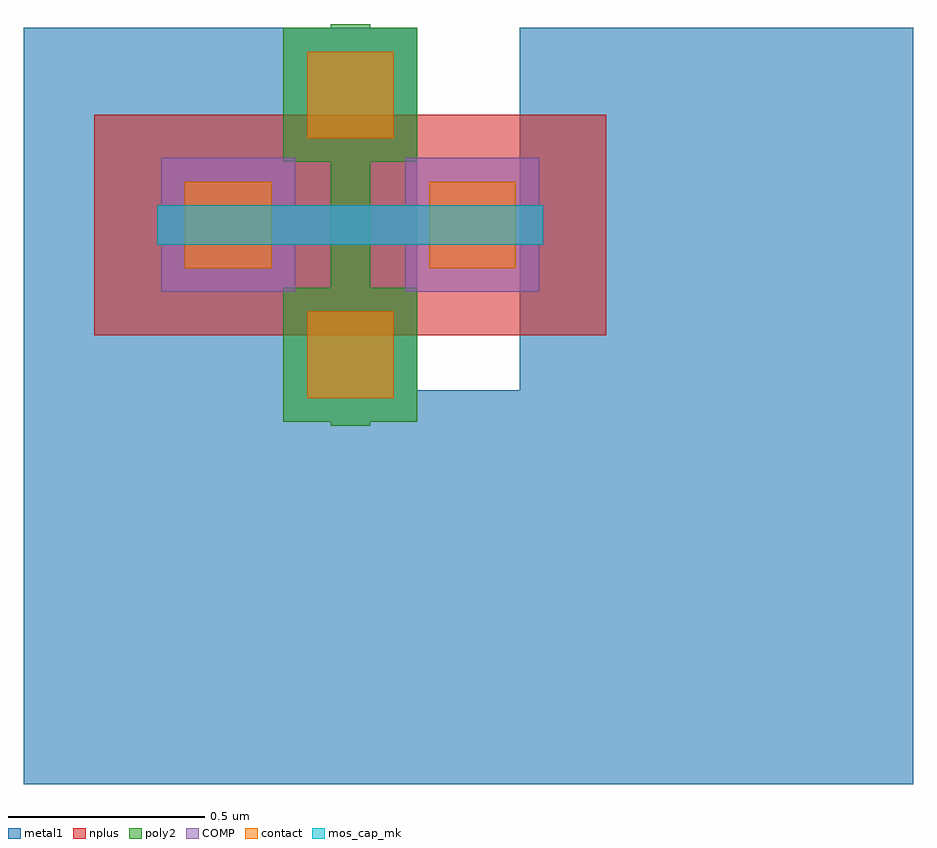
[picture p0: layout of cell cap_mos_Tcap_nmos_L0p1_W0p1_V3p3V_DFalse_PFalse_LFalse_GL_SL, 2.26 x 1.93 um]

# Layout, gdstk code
import gdstk
lib = gdstk.Library(unit=1e-6, precision=1e-09)
def R(c, l, rs):  # rectangles x0, y0, x1, y1
    for r in rs: c.add(gdstk.rectangle(r[:2], r[2:], *l))
COMP = (22, 0)
poly2 = (30, 0)
nplus = (32, 0)
contact = (33, 0)
metal1 = (34, 0)
mos_cap_mk = (166, 5)

rectangle_gdsfactorypcom = lib.new_cell('rectangle_gdsfactorypcomponentspshapesprectangle_S0p979_4e93c8e6')
R(rectangle_gdsfactorypcom, COMP, [(0,0,0.98,0.1)])

c_rectangle_gdsfactorypcom = lib.new_cell('rectangle_gdsfactorypcomponentspshapesprectangle_S0p98__a24bb4c1')
R(c_rectangle_gdsfactorypcom, mos_cap_mk, [(0,0,0.98,0.1)])

c_rectangle_gdsfactorypcom_ = lib.new_cell('rectangle_gdsfactorypcomponentspshapesprectangle_S0p22__bfea7709')
R(c_rectangle_gdsfactorypcom_, contact, [(0,0,0.22,0.22)])

via_generator_xr0_0p36_y = lib.new_cell('via_generator_XR0_0p36_YR0_0p1_VS0p22_0p22_VLcontact_VE_ac285b88')
via_generator_xr0_0p36_y.add(gdstk.Reference(c_rectangle_gdsfactorypcom_, (0.07,-0.06)))

c_rectangle_gdsfactorypcom__ = lib.new_cell('rectangle_gdsfactorypcomponentspshapesprectangle_S0p339_7cf635e5')
R(c_rectangle_gdsfactorypcom__, COMP, [(0,0,0.34,0.34)])

via_stack_xr0_0p36_yr0_0 = lib.new_cell('via_stack_XR0_0p36_YR0_0p1_ML1_CS0p22_0p22_CE0p07_ME0p0_8180e531')
via_stack_xr0_0p36_yr0_0.add(gdstk.Reference(via_generator_xr0_0p36_y, (0,0)))
via_stack_xr0_0p36_yr0_0.add(gdstk.Reference(c_rectangle_gdsfactorypcom__, (0.01,-0.12)))

c_rectangle_gdsfactorypcom___ = lib.new_cell('rectangle_gdsfactorypcomponentspshapesprectangle_S1p3_0_caab58e1')
R(c_rectangle_gdsfactorypcom___, nplus, [(0,0,1.3,0.56)])

c_rectangle_gdsfactorypcom____ = lib.new_cell('rectangle_gdsfactorypcomponentspshapesprectangle_S0p1_1_f1b288f7')
R(c_rectangle_gdsfactorypcom____, poly2, [(0,0,0.1,1.02)])

via_generator_xr0p44_0p5 = lib.new_cell('via_generator_XR0p44_0p54_YRm0p46_m0p10000000000000003__5b5ff6b5')
via_generator_xr0p44_0p5.add(gdstk.Reference(c_rectangle_gdsfactorypcom_, (0.38,-0.39)))

c_rectangle_gdsfactorypcom_____ = lib.new_cell('rectangle_gdsfactorypcomponentspshapesprectangle_S0p339_f4050e4b')
R(c_rectangle_gdsfactorypcom_____, poly2, [(0,0,0.34,0.34)])

via_stack_xr0p44_0p54_yr = lib.new_cell('via_stack_XR0p44_0p54_YRm0p46_m0p10000000000000003_ML1__8ac95900')
via_stack_xr0p44_0p54_yr.add(gdstk.Reference(via_generator_xr0p44_0p5, (0,0)))
via_stack_xr0p44_0p54_yr.add(gdstk.Reference(c_rectangle_gdsfactorypcom_____, (0.32,-0.45)))

c_rectangle_gdsfactorypcom______ = lib.new_cell('rectangle_gdsfactorypcomponentspshapesprectangle_S0p34__70c53f20')
R(c_rectangle_gdsfactorypcom______, metal1, [(0,0,0.34,1)])

cap_mos_inst_l0p1_w0p1_c = lib.new_cell('cap_mos_inst_L0p1_W0p1_CW0p9799999999999999_CW0p36_PL1p_cbdab1e6')
cap_mos_inst_l0p1_w0p1_c.add(gdstk.Reference(rectangle_gdsfactorypcom, (0,0)))
cap_mos_inst_l0p1_w0p1_c.add(gdstk.Reference(c_rectangle_gdsfactorypcom, (0,0)))
r = gdstk.Reference(via_stack_xr0_0p36_yr0_0, (0,0)); r.repetition = gdstk.Repetition(2, 1, v1=(0.62,0), v2=(0,0)); cap_mos_inst_l0p1_w0p1_c.add(r)
cap_mos_inst_l0p1_w0p1_c.add(gdstk.Reference(c_rectangle_gdsfactorypcom___, (-0.16,-0.23)))
cap_mos_inst_l0p1_w0p1_c.add(gdstk.Reference(c_rectangle_gdsfactorypcom____, (0.44,-0.46)))
r = gdstk.Reference(via_stack_xr0p44_0p54_yr, (0,0)); r.repetition = gdstk.Repetition(1, 2, v1=(0,0), v2=(0,0.66)); cap_mos_inst_l0p1_w0p1_c.add(r)
cap_mos_inst_l0p1_w0p1_c.add(gdstk.Reference(c_rectangle_gdsfactorypcom______, (0.32,-0.45)))

c_rectangle_gdsfactorypcom_______ = lib.new_cell('rectangle_gdsfactorypcomponentspshapesprectangle_S1_0p9_fa0bf5c6')
R(c_rectangle_gdsfactorypcom_______, metal1, [(0,0,1,0.92)])

c_rectangle_gdsfactorypcom________ = lib.new_cell('rectangle_gdsfactorypcomponentspshapesprectangle_S2p26__33e3970e')
R(c_rectangle_gdsfactorypcom________, metal1, [(0,0,2.26,1)])

cap_mos_tcap_nmos_l0p1_w = lib.new_cell('cap_mos_Tcap_nmos_L0p1_W0p1_V3p3V_DFalse_PFalse_LFalse_GL_SL')
cap_mos_tcap_nmos_l0p1_w.add(gdstk.Reference(cap_mos_inst_l0p1_w0p1_c, (0,0)))
r = gdstk.Reference(c_rectangle_gdsfactorypcom_______, (-0.34,-0.37)); r.repetition = gdstk.Repetition(2, 1, v1=(1.26,0), v2=(0,0)); cap_mos_tcap_nmos_l0p1_w.add(r)
cap_mos_tcap_nmos_l0p1_w.add(gdstk.Reference(c_rectangle_gdsfactorypcom________, (-0.34,-1.37)))

lib.write_gds('cap_mos_Tcap_nmos_L0p1_W0p1_V3p3V_DFalse_PFalse_LFalse_GL_SL.gds')
